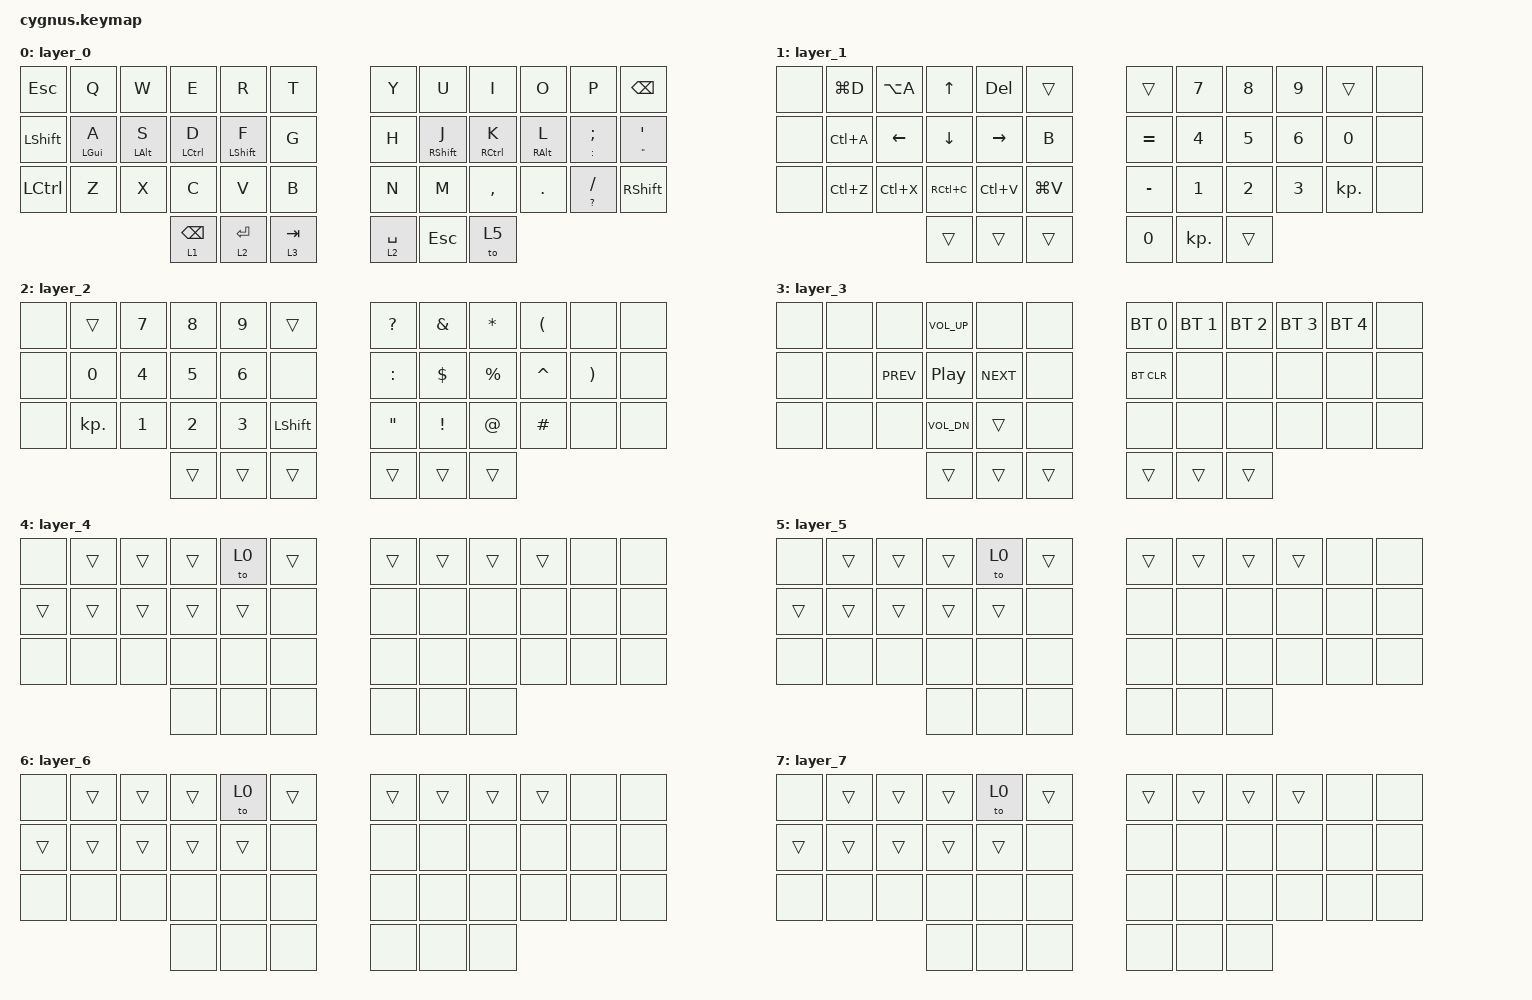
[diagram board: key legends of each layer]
/*
 * Copyright (c) 2020 The ZMK Contributors
 *
 * SPDX-License-Identifier: MIT
 */
#include <dt-bindings/zmk/mouse.h>
#include <behaviors.dtsi>
#include <dt-bindings/zmk/bt.h>
#include <dt-bindings/zmk/keys.h>
#include <dt-bindings/zmk/outputs.h>

&mt {
    tapping-term-ms = <200>;
    flavor = "tap-preferred";
};

&sk {
    release-after-ms = <2000>;
    quick-release;
};

/ {
    combos {
        compatible = "zmk,combos";

        left_bkt {
            bindings = <&kp LBKT>;
            key-positions = <3 2>;
            timeout-ms = <50>;
        };

        right_bkt {
            bindings = <&kp RBKT>;
            key-positions = <6 7>;
            timeout-ms = <50>;
        };

        left_par {
            bindings = <&kp LEFT_PARENTHESIS>;
            key-positions = <12 13>;
            timeout-ms = <50>;
        };

        right_par {
            bindings = <&kp RIGHT_PARENTHESIS>;
            key-positions = <16 17>;
            timeout-ms = <50>;
        };

        left_brace {
            bindings = <&kp LEFT_BRACE>;
            key-positions = <23 22>;
            timeout-ms = <50>;
        };

        right_brace {
            bindings = <&kp RIGHT_BRACE>;
            key-positions = <26 27>;
            timeout-ms = <50>;
        };

        bac {
            bindings = <&kp BACKSLASH>;
            key-positions = <4 5>;
        };

        pipe {
            bindings = <&kp PIPE>;
            key-positions = <14 15>;
        };
    };

    behaviors {
        hm: homerow_mods {
            compatible = "zmk,behavior-hold-tap";
            label = "HOMEROW_MODS";
            #binding-cells = <2>;
            tapping-term-ms = <200>;
            quick_tap_ms = <0>;
            flavor = "tap-preferred";
            bindings = <&kp>, <&kp>;

            quick-tap-ms = <180>;
            global-quick-tap;
        };

        ltq: ltq {
            compatible = "zmk,behavior-hold-tap";
            label = "LTQ";
            #binding-cells = <2>;
            tapping-term-ms = <200>;
            quick_tap_ms = <0>;
            flavor = "hold-preferred";
            bindings = <&mo>, <&kp>;

            quick-tap-ms = <180>;
            global-quick-tap;
        };

        as: as {
            compatible = "zmk,behavior-hold-tap";
            label = "AUTO_SHIFT";
            bindings = <&kp>, <&kp>;

            #binding-cells = <2>;
            tapping-term-ms = <135>;
            quick-tap-ms = <0>;
            flavor = "tap-preferred";
        };
    };

    keymap {
        compatible = "zmk,keymap";

        layer_0 {
            bindings = <
&kp ESC         &kp Q                    &kp W           &kp E        &kp R         &kp T      &kp Y  &kp U  &kp I         &kp O    &kp P     &kp BACKSPACE
&kp LEFT_SHIFT  &hm LEFT_GUI A  &hm LEFT_ALT S  &hm LEFT_CONTROL D  &hm LEFT_SHIFT F  &kp G      &kp H  &hm RIGHT_SHIFT J  &hm RIGHT_CONTROL K  &hm RIGHT_ALT L          &as COLON SEMICOLON  &as DOUBLE_QUOTES SINGLE_QUOTE
&kp LCTRL       &kp Z                    &kp X           &kp C        &kp V         &kp B      &kp N  &kp M  &kp COMMA     &kp DOT  &as QUESTION SLASH  &kp RIGHT_SHIFT
                           &ltq 1 BSPC  &ltq 2 ENTER  &lt 3 TAB                &ltq 2 SPACE  &kp ESC  &to 5
            >;
        };

        layer_1{
            bindings = <
&none  &kp LG(D)  &kp LA(A)  &kp UP     &kp DELETE  &trans     &trans     &kp N7  &kp N8  &kp N9      &trans      &none
&none  &kp LC(A)  &kp LEFT   &kp DOWN   &kp RIGHT   &kp B      &kp EQUAL  &kp N4  &kp N5  &kp N6      &kp N0      &none
&none  &kp LC(Z)  &kp LC(X)  &kp RC(C)  &kp LC(V)   &kp LG(V)  &kp MINUS  &kp N1  &kp N2  &kp N3      &kp KP_DOT  &none
        &trans     &trans      &trans                        &kp N0  &kp KP_DOT  &trans
            >;
        };

        layer_2 {
            bindings = <
&none  &trans      &kp N7  &kp N8  &kp N9  &trans          &kp QUESTION       &kp AMPS  &kp ASTERISK  &kp LPAR   &none     &none
&none  &kp N0      &kp N4  &kp N5  &kp N6  &none           &kp COLON          &kp DLLR  &kp PRCNT     &kp CARET  &kp RPAR  &none
&none  &kp KP_DOT  &kp N1  &kp N2  &kp N3  &kp LEFT_SHIFT  &kp DOUBLE_QUOTES  &kp EXCL  &kp AT        &kp HASH   &none     &none
  &trans  &trans  &trans                                       &trans        &trans     &trans
            >;
        };

        layer_3 {
            bindings = <
&none  &none   &none       &kp C_VOL_UP  &none       &none   &bt BT_SEL 0  &bt BT_SEL 1  &bt BT_SEL 2  &bt BT_SEL 3  &bt BT_SEL 4  &none
&none  &none   &kp C_PREV  &kp C_PP      &kp C_NEXT  &none   &bt BT_CLR    &none         &none         &none         &none         &none
&none  &none   &none       &kp C_VOL_DN  &trans      &none   &none         &none         &none         &none         &none         &none
           &trans        &trans      &trans                              &trans        &trans        &trans
            >;
        };

        layer_4 {
            bindings = <
&none   &trans  &trans  &trans  &to 0   &trans  &trans  &trans  &trans  &trans  &none  &none
&trans  &trans  &trans  &trans  &trans  &none   &none   &none   &none   &none   &none  &none
&none   &none   &none   &none   &none   &none   &none   &none   &none   &none   &none  &none
         &none   &none   &none                   &none   &none &none
            >;
        };

        layer_5 {
            bindings = <
&none   &trans  &trans  &trans  &to 0   &trans  &trans  &trans  &trans  &trans  &none  &none
&trans  &trans  &trans  &trans  &trans  &none   &none   &none   &none   &none   &none  &none
&none   &none   &none   &none   &none   &none   &none   &none   &none   &none   &none  &none
         &none   &none   &none                   &none   &none &none
            >;
        };

        layer_6 {
            bindings = <
&none   &trans  &trans  &trans  &to 0   &trans  &trans  &trans  &trans  &trans  &none  &none
&trans  &trans  &trans  &trans  &trans  &none   &none   &none   &none   &none   &none  &none
&none   &none   &none   &none   &none   &none   &none   &none   &none   &none   &none  &none
         &none   &none   &none                   &none   &none &none
            >;
        };

        layer_7 {
            bindings = <
&none   &trans  &trans  &trans  &to 0   &trans  &trans  &trans  &trans  &trans  &none  &none
&trans  &trans  &trans  &trans  &trans  &none   &none   &none   &none   &none   &none  &none
&none   &none   &none   &none   &none   &none   &none   &none   &none   &none   &none  &none
         &none   &none   &none                   &none   &none &none
            >;
        };
    };
};
